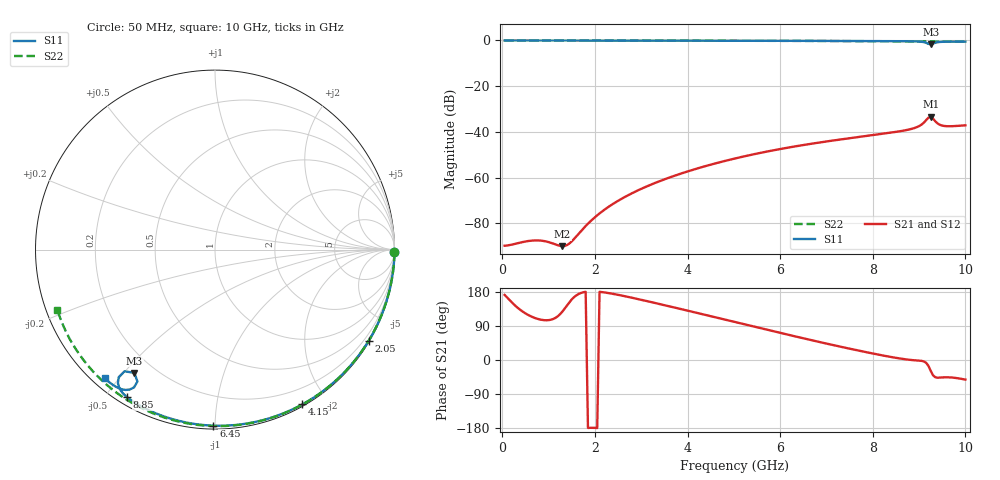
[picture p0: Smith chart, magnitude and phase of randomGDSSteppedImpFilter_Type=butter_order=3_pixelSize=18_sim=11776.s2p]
! freq	dB(S11)	phase(S11)	dB(S12)	phase(S12)
!  dB(S21)	phase(S21)	dB(S22)	phase(S22)
!S-par simulation data
#  GHz  S  DB  R 50
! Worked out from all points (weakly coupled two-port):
!   200 points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, 50 MHz to 10 GHz, reference 50 ohm
!   highest |S21| = -33.36 dB at 9.25 GHz (marker M1); lowest = -90.0 dB at 1.3 GHz (marker M2)
!   lowest |S11| = -1.7 dB at 9.25 GHz (marker M3), VSWR 10.17, Z = 6.34 - j26.7 ohm
!   |S11| at or under -10 dB: nowhere
!   |S22| runs from -0.5 to 0.0 dB; largest |S21 - S12| = 0
!   S11 on the Smith chart (normalised r, x): 50 MHz: open; 2.05 GHz: 0.03, -3.64; 4.15 GHz: 0.02, -1.71; 6.45 GHz: 0.02, -0.99; 8.85 GHz: 0.03, -0.57; 10 GHz: 0.03, -0.46
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0.05  -0.00 -0.8  -89.79 171.8  -89.79 171.8  -0.00 -0.9
0.65  -0.01 -9.9  -87.52 113.5  -87.52 113.5  -0.01 -11.8
1.3  -0.02 -19.6  -89.98 128.2  -89.98 128.2  -0.03 -23.4
1.75  -0.03 -26.3  -82.24 178.7  -82.24 178.7  -0.04 -31.3
1.85  -0.04 -27.8  -80.14 -179.3  -80.14 -179.3  -0.04 -33.1
2.05  -0.04 -30.7  -76.47 -179.5  -76.47 -179.5  -0.05 -36.6
2.35  -0.05 -35.1  -72.02 175.5  -72.02 175.5  -0.05 -41.7
2.65  -0.05 -39.5  -68.41 168.3  -68.41 168.3  -0.06 -46.9
3.4  -0.07 -50.1  -61.52 147.6  -61.52 147.6  -0.08 -59.5
4.15  -0.08 -60.5  -56.36 125.9  -56.36 125.9  -0.10 -71.7
5.05  -0.11 -72.6  -51.50 99.5  -51.50 99.5  -0.13 -85.9
6.45  -0.17 -90.5  -45.90 58.7  -45.90 58.7  -0.20 -107.0
6.7  -0.18 -93.6  -45.09 51.6  -45.09 51.6  -0.22 -110.7
8.35  -0.29 -114.0  -40.43 8.9  -40.43 8.9  -0.35 -134.6
8.85  -0.38 -120.9  -38.61 -0.2  -38.61 -0.2  -0.40 -141.9
9  -0.49 -123.7  -37.46 -1.6  -37.46 -1.6  -0.41 -144.1
9.15  -1.01 -127.1  -34.94 -7.2  -34.94 -7.2  -0.43 -146.3
9.2  -1.47 -126.6  -33.80 -15.2  -33.80 -15.2  -0.43 -147.0
9.25  -1.71 -123.2  -33.36 -28.3  -33.36 -28.3  -0.44 -147.7
9.35  -1.01 -120.4  -35.37 -45.6  -35.37 -45.6  -0.45 -149.2
9.5  -0.59 -123.4  -37.24 -46.0  -37.24 -46.0  -0.47 -151.5
10  -0.50 -130.7  -37.11 -51.7  -37.11 -51.7  -0.53 -159.0
